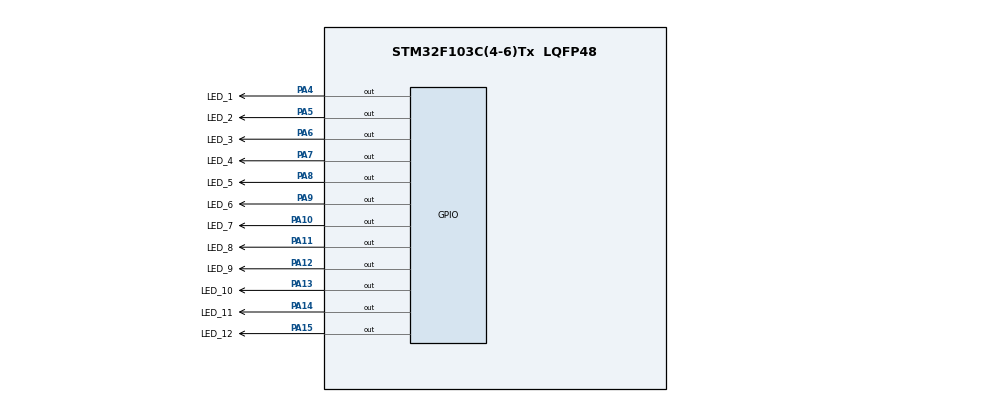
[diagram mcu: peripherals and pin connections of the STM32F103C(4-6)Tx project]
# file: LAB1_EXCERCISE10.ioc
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Mcu.Family=STM32F1
Mcu.Name=STM32F103C(4-6)Tx
Mcu.Package=LQFP48
NVIC.PriorityGroup=NVIC_PRIORITYGROUP_4
PA10.GPIO_Label=LED_7
PA10.Signal=GPIO_Output
PA11.GPIO_Label=LED_8
PA11.Signal=GPIO_Output
PA12.GPIO_Label=LED_9
PA12.Signal=GPIO_Output
PA13.GPIO_Label=LED_10
PA13.Signal=GPIO_Output
PA14.GPIO_Label=LED_11
PA14.Signal=GPIO_Output
PA15.GPIO_Label=LED_12
PA15.Signal=GPIO_Output
PA4.GPIO_Label=LED_1
PA4.Signal=GPIO_Output
PA5.GPIO_Label=LED_2
PA5.Signal=GPIO_Output
PA6.GPIO_Label=LED_3
PA6.Signal=GPIO_Output
PA7.GPIO_Label=LED_4
PA7.Signal=GPIO_Output
PA8.GPIO_Label=LED_5
PA8.Signal=GPIO_Output
PA9.GPIO_Label=LED_6
PA9.Signal=GPIO_Output
ProjectManager.HeapSize=0x200
ProjectManager.StackSize=0x400
ProjectManager.TargetToolchain=STM32CubeIDE
RCC.APB1Freq_Value=8000000
RCC.APB2Freq_Value=8000000
VP_SYS_VS_ND.Mode=No_Debug
board=custom

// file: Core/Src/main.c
/* USER CODE BEGIN Header */
/**
  ******************************************************************************
  * @file           : main.c
  * @brief          : Main program body
  ******************************************************************************
  * @attention
  *
  * <h2><center>&copy; Copyright (c) 2025 STMicroelectronics.
  * All rights reserved.</center></h2>
  *
  * This software component is licensed by ST under BSD 3-Clause license,
  * the "License"; You may not use this file except in compliance with the
  * License. You may obtain a copy of the License at:
  *                        opensource.org/licenses/BSD-3-Clause
  *
  ******************************************************************************
  */
/* USER CODE END Header */
#include "main.h"

void SystemClock_Config(void);
static void MX_GPIO_Init(void);

/* USER CODE BEGIN 0 */
int LedP[12]={
	LED_1_Pin,LED_2_Pin,LED_3_Pin,LED_4_Pin,LED_5_Pin,LED_6_Pin,LED_7_Pin,LED_8_Pin,LED_9_Pin,LED_10_Pin,LED_11_Pin,LED_12_Pin
};

void clearALLClock(){
	for(int i=0;i<12;i++){
		HAL_GPIO_WritePin(GPIOA, LedP[i],SET);
	}
}

void setNumberOnClock(int num){
	if (num >= 0 && num < 12) {
	        HAL_GPIO_WritePin(GPIOA, LedP[num],RESET);
	}
}

void clearNumberOnClock(int num){
	if (num >= 0 && num < 12) {
	        HAL_GPIO_WritePin(GPIOA, LedP[num],SET);
	}
}

void setTimeOnClock(int hour, int minute, int second){
	setNumberOnClock(hour%12);
	setNumberOnClock(minute/5);
	setNumberOnClock(second/5);
}

void runClock(){
    int hour = 0;
    int minute = 0;
    int second = 0;

    while (1) {
        clearALLClock();
        setTimeOnClock(hour, minute, second);
        HAL_Delay(4);
        second++;
        if (second >= 60) {
            second = 0;
            minute++;
        }
        if (minute >= 60) {
            minute = 0;
            hour++;
        }
        if (hour >= 12) {
            hour = 0;
        }
    }
}
/* USER CODE END 0 */

int main(void)
{

  /* MCU Configuration--------------------------------------------------------*/

  /* Reset of all peripherals, Initializes the Flash interface and the Systick. */
  HAL_Init();

  /* Configure the system clock */
  SystemClock_Config();

  /* Initialize all configured peripherals */
  MX_GPIO_Init();

  /* Infinite loop */
  while (1)
  {
	  runClock();
  }
}

void SystemClock_Config(void)
{
  RCC_OscInitTypeDef RCC_OscInitStruct = {0};
  RCC_ClkInitTypeDef RCC_ClkInitStruct = {0};

  /** Initializes the RCC Oscillators according to the specified parameters
  * in the RCC_OscInitTypeDef structure.
  */
  RCC_OscInitStruct.OscillatorType = RCC_OSCILLATORTYPE_HSI;
  RCC_OscInitStruct.HSIState = RCC_HSI_ON;
  RCC_OscInitStruct.HSICalibrationValue = RCC_HSICALIBRATION_DEFAULT;
  RCC_OscInitStruct.PLL.PLLState = RCC_PLL_NONE;
  if (HAL_RCC_OscConfig(&RCC_OscInitStruct) != HAL_OK)
  {
    Error_Handler();
  }
  /** Initializes the CPU, AHB and APB buses clocks
  */
  RCC_ClkInitStruct.ClockType = RCC_CLOCKTYPE_HCLK|RCC_CLOCKTYPE_SYSCLK
                              |RCC_CLOCKTYPE_PCLK1|RCC_CLOCKTYPE_PCLK2;
  RCC_ClkInitStruct.SYSCLKSource = RCC_SYSCLKSOURCE_HSI;
  RCC_ClkInitStruct.AHBCLKDivider = RCC_SYSCLK_DIV1;
  RCC_ClkInitStruct.APB1CLKDivider = RCC_HCLK_DIV1;
  RCC_ClkInitStruct.APB2CLKDivider = RCC_HCLK_DIV1;

  if (HAL_RCC_ClockConfig(&RCC_ClkInitStruct, FLASH_LATENCY_0) != HAL_OK)
  {
    Error_Handler();
  }
}

static void MX_GPIO_Init(void)
{
  GPIO_InitTypeDef GPIO_InitStruct = {0};

  /* GPIO Ports Clock Enable */
  __HAL_RCC_GPIOA_CLK_ENABLE();

  /*Configure GPIO pin Output Level */
  HAL_GPIO_WritePin(GPIOA, LED_1_Pin|LED_2_Pin|LED_3_Pin|LED_4_Pin
                          |LED_5_Pin|LED_6_Pin|LED_7_Pin|LED_8_Pin
                          |LED_9_Pin|LED_10_Pin|LED_11_Pin|LED_12_Pin, GPIO_PIN_RESET);

  /*Configure GPIO pins : LED_1_Pin LED_2_Pin LED_3_Pin LED_4_Pin
                           LED_5_Pin LED_6_Pin LED_7_Pin LED_8_Pin
                           LED_9_Pin LED_10_Pin LED_11_Pin LED_12_Pin */
  GPIO_InitStruct.Pin = LED_1_Pin|LED_2_Pin|LED_3_Pin|LED_4_Pin
                          |LED_5_Pin|LED_6_Pin|LED_7_Pin|LED_8_Pin
                          |LED_9_Pin|LED_10_Pin|LED_11_Pin|LED_12_Pin;
  GPIO_InitStruct.Mode = GPIO_MODE_OUTPUT_PP;
  GPIO_InitStruct.Pull = GPIO_NOPULL;
  GPIO_InitStruct.Speed = GPIO_SPEED_FREQ_LOW;
  HAL_GPIO_Init(GPIOA, &GPIO_InitStruct);

}

void Error_Handler(void)
{
  __disable_irq();
  while (1)
  {
  }
}

/************************ (C) COPYRIGHT STMicroelectronics *****END OF FILE****/
